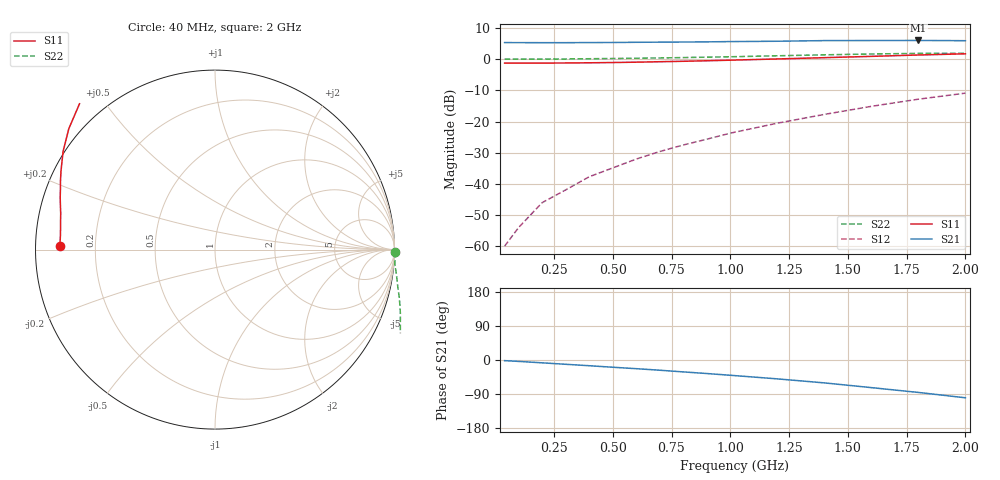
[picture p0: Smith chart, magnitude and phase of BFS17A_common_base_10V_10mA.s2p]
! Filename:  BFS17ACH.S2P  Version:  2.0
! Philips part #: BFS17A  Date: Jul 1990
! Bias condition: Vce=10V, Ic=10mA
! COMMON BASE
#  MHz  S  MA  R  50
! Freq  S11  S21  S12  S22
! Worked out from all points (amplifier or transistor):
!   16 points, 40 MHz to 2 GHz, reference 50 ohm
!   highest |S21| = 6.0 dB at 1.8 GHz (marker M1)
!   |S21| within 3 dB of that: start of sweep to end of sweep
!   unconditionally stable (mu >= 1): nowhere
!   at 200 MHz: K = -0.47, MSG = 25.7 dB, |S12| = -46.0 dB
!   at 800 MHz: K = -0.88, MSG = 16.5 dB, |S12| = -27.5 dB
!   at 2 GHz: K = -0.65, MSG = 8.4 dB, |S12| = -10.9 dB
40  0.864 178.8  1.843 -1.7  0.001 80.6  1.004 -0.8
100  0.864 177.2  1.842 -3.7  0.002 100.4  1.007 -1.5
200  0.865 174.6  1.839 -7.5  0.005 111.6  1.005 -3.5
300  0.869 172.0  1.839 -11.3  0.008 122.3  1.007 -5.2
400  0.875 169.5  1.845 -15.1  0.013 130.3  1.016 -6.9
500  0.883 166.8  1.852 -19.1  0.018 133.7  1.025 -8.8
600  0.895 164.2  1.865 -22.9  0.025 137.8  1.034 -10.6
700  0.91 161.4  1.875 -27.0  0.033 139.1  1.046 -12.5
800  0.925 158.6  1.883 -31.4  0.042 140.8  1.061 -14.6
900  0.943 155.9  1.895 -35.7  0.052 141.4  1.077 -16.9
1000  0.963 153.0  1.914 -40.3  0.065 141.5  1.093 -19.1
1200  1.008 147.1  1.939 -49.8  0.094 140.6  1.133 -24.3
1400  1.057 140.4  1.985 -60.4  0.13 137.5  1.174 -30.1
1600  1.109 132.9  1.991 -72.9  0.175 133.8  1.211 -37.0
1800  1.167 124.5  1.996 -85.6  0.228 128.2  1.238 -44.9
2000  1.219 116.0  1.978 -99.7  0.285 121.5  1.246 -54.3
